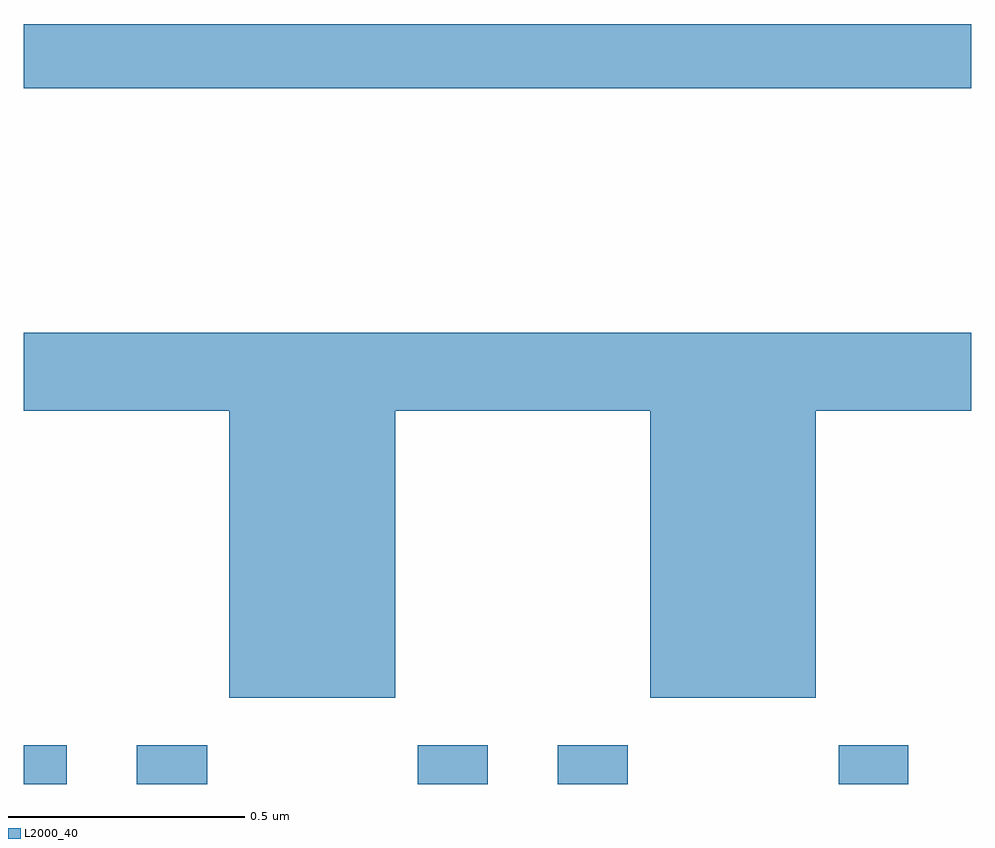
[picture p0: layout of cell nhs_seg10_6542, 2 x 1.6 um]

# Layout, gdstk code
import gdstk
lib = gdstk.Library(unit=1e-6, precision=1e-09)
def R(c, l, rs):  # rectangles x0, y0, x1, y1
    for r in rs: c.add(gdstk.rectangle(r[:2], r[2:], *l))
def P(c, l, *ps):  # polygons
    for p in ps: c.add(gdstk.Polygon(p, *l))
L2000_40 = (2000, 40)

nhs_seg10_6542 = lib.new_cell('nhs_seg10_6542')
R(nhs_seg10_6542, L2000_40, [(192,1327.5,192.091,1327.582), (192.239,1327.5,192.387,1327.582), (192.832,1327.5,192.979,1327.582), (193.127,1327.5,193.275,1327.582), (193.72,1327.5,193.867,1327.582), (192,1328.968,194,1329.104)])
P(nhs_seg10_6542, L2000_40, [(192.784,1328.288),(193.322,1328.288),(193.322,1327.682),(193.672,1327.682),(193.672,1328.288),(194,1328.288),(194,1328.452),(192,1328.452),(192,1328.288),(192.434,1328.288),(192.434,1327.682),(192.784,1327.682)])

lib.write_gds('nhs_seg10_6542.gds')
